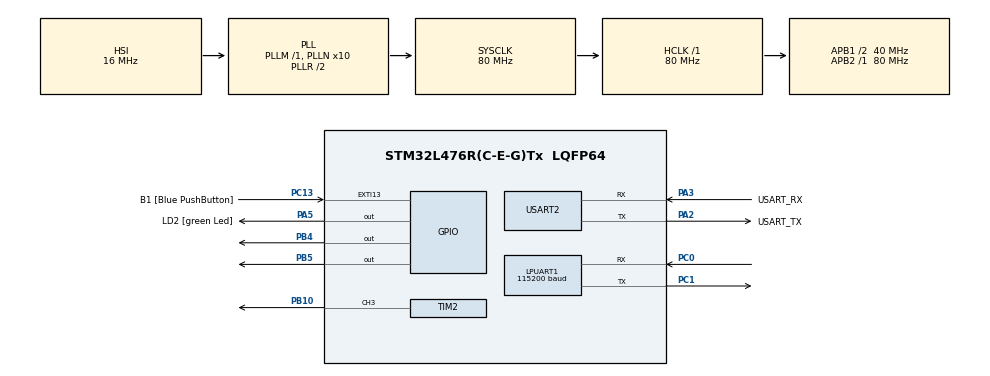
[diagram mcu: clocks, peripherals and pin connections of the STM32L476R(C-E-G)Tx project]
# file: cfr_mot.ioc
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LPUART1.BaudRate=115200
LPUART1.WordLength=UART_WORDLENGTH_8B
Mcu.Family=STM32L4
Mcu.Name=STM32L476R(C-E-G)Tx
Mcu.Package=LQFP64
NVIC.LPUART1_IRQn=true\:0\:0\:false\:false\:true\:true\:true\:true
NVIC.PriorityGroup=NVIC_PRIORITYGROUP_4
PA13\ (JTMS-SWDIO).GPIO_Label=TMS
PA13\ (JTMS-SWDIO).Mode=Serial_Wire
PA13\ (JTMS-SWDIO).Signal=SYS_JTMS-SWDIO
PA14\ (JTCK-SWCLK).GPIO_Label=TCK
PA14\ (JTCK-SWCLK).Mode=Serial_Wire
PA14\ (JTCK-SWCLK).Signal=SYS_JTCK-SWCLK
PA2.GPIO_Label=USART_TX
PA2.GPIO_Mode=GPIO_MODE_AF_PP
PA2.GPIO_PuPd=GPIO_NOPULL
PA2.GPIO_Speed=GPIO_SPEED_FREQ_VERY_HIGH
PA2.Mode=Asynchronous
PA2.Signal=USART2_TX
PA3.GPIO_Label=USART_RX
PA3.GPIO_Mode=GPIO_MODE_AF_PP
PA3.GPIO_PuPd=GPIO_NOPULL
PA3.GPIO_Speed=GPIO_SPEED_FREQ_VERY_HIGH
PA3.Mode=Asynchronous
PA3.Signal=USART2_RX
PA5.GPIO_Label=LD2 [green Led]
PA5.GPIO_ModeDefaultOutputPP=GPIO_MODE_OUTPUT_PP
PA5.GPIO_PuPd=GPIO_NOPULL
PA5.GPIO_Speed=GPIO_SPEED_FREQ_LOW
PA5.Signal=GPIO_Output
PB10.Signal=S_TIM2_CH3
PB3\ (JTDO-TRACESWO).GPIO_Label=SWO
PB3\ (JTDO-TRACESWO).Signal=SYS_JTDO-SWO
PB4\ (NJTRST).Signal=GPIO_Output
PB5.Signal=GPIO_Output
PC0.Mode=Asynchronous
PC0.Signal=LPUART1_RX
PC1.Mode=Asynchronous
PC1.Signal=LPUART1_TX
PC13.GPIO_Label=B1 [Blue PushButton]
PC13.GPIO_ModeDefaultEXTI=GPIO_MODE_IT_FALLING
PC13.GPIO_PuPd=GPIO_NOPULL
PC13.Signal=GPXTI13
PC14-OSC32_IN\ (PC14).Mode=LSE-External-Oscillator
PC14-OSC32_IN\ (PC14).Signal=RCC_OSC32_IN
PC15-OSC32_OUT\ (PC15).Mode=LSE-External-Oscillator
PC15-OSC32_OUT\ (PC15).Signal=RCC_OSC32_OUT
PH0-OSC_IN\ (PH0).Mode=HSE-External-Oscillator
PH0-OSC_IN\ (PH0).Signal=RCC_OSC_IN
PH1-OSC_OUT\ (PH1).Mode=HSE-External-Oscillator
PH1-OSC_OUT\ (PH1).Signal=RCC_OSC_OUT
ProjectManager.HeapSize=0x200
ProjectManager.StackSize=0x400
ProjectManager.TargetToolchain=STM32CubeIDE
RCC.ADCFreq_Value=64000000
RCC.AHBFreq_Value=80000000
RCC.APB1CLKDivider=RCC_HCLK_DIV2
RCC.APB1Freq_Value=40000000
RCC.APB1TimFreq_Value=80000000
RCC.APB2Freq_Value=80000000
RCC.APB2TimFreq_Value=80000000
RCC.CortexFreq_Value=80000000
RCC.HCLKFreq_Value=80000000
RCC.HSE_VALUE=8000000
RCC.HSI_VALUE=16000000
RCC.MSI_VALUE=4000000
RCC.PLLN=10
RCC.PLLSourceVirtual=RCC_PLLSOURCE_HSI
RCC.PREFETCH_ENABLE=1
RCC.SYSCLKFreq_VALUE=80000000
RCC.SYSCLKSource=RCC_SYSCLKSOURCE_PLLCLK
RCC.USBFreq_Value=64000000
RCC.VCOOutputFreq_Value=160000000
SH.S_TIM2_CH3.0=TIM2_CH3,PWM Generation3 CH3
TIM2.Channel-PWM\ Generation3\ CH3=TIM_CHANNEL_3
TIM2.Period=1999
TIM2.Prescaler=79
USART2.VirtualMode-Asynchronous=VM_ASYNC
VP_TIM2_VS_ClockSourceINT.Mode=Internal
board=NUCLEO-L476RG

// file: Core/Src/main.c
/* USER CODE BEGIN Header */
/**
  ******************************************************************************
  * @file           : main.c
  * @brief          : Main program body
  ******************************************************************************
  * @attention
  *
  * Copyright (c) 2024 STMicroelectronics.
  * All rights reserved.
  *
  * This software is licensed under terms that can be found in the LICENSE file
  * in the root directory of this software component.
  * If no LICENSE file comes with this software, it is provided AS-IS.
  *
  ******************************************************************************
  */
/* USER CODE END Header */
#include "main.h"

UART_HandleTypeDef hlpuart1;
UART_HandleTypeDef huart2;

TIM_HandleTypeDef htim2;

/* USER CODE BEGIN PV */
uint8_t tx_buffer[27] = "Hello Ares \n\r";
uint8_t rx_data[5];
int i = 0;

/* USER CODE END PV */

void SystemClock_Config(void);
static void MX_GPIO_Init(void);
static void MX_USART2_UART_Init(void);
static void MX_TIM2_Init(void);
static void MX_LPUART1_UART_Init(void);

int main(void)
{

  /* MCU Configuration--------------------------------------------------------*/

  /* Reset of all peripherals, Initializes the Flash interface and the Systick. */
  HAL_Init();

  /* Configure the system clock */
  SystemClock_Config();

  /* Initialize all configured peripherals */
  MX_GPIO_Init();
  MX_USART2_UART_Init();
  MX_TIM2_Init();
  MX_LPUART1_UART_Init();
  /* USER CODE BEGIN 2 */
  HAL_TIM_PWM_Start(&htim2, TIM_CHANNEL_3); //PB10 TIM2 CH3
  HAL_UART_Receive_IT(&hlpuart1,(uint8_t*)rx_data, 5);  // Start receiving data initially
  /* USER CODE END 2 */

  /* Infinite loop */
  /* USER CODE BEGIN WHILE */
  while (1)
  {
	  // Set the rotation direction backward
		  while (rx_data[0] == '1')
		  	  {
		  	      // Faire tourner les moteurs en avant
		  HAL_GPIO_WritePin(GPIOB, GPIO_PIN_4, 1); // Moteur avant
		  HAL_GPIO_WritePin(GPIOB, GPIO_PIN_5, 0);
		  __HAL_TIM_SET_COMPARE(&htim2, TIM_CHANNEL_3, 2000); // Vitesse haute
	      }

		  HAL_GPIO_WritePin(GPIOB, GPIO_PIN_4, 0); // Arrêter le moteur
		  HAL_GPIO_WritePin(GPIOB, GPIO_PIN_5, 0);
		  __HAL_TIM_SET_COMPARE(&htim2, TIM_CHANNEL_3, 0); // Arrêter la vitesse
    /* USER CODE END WHILE */

  }
}

void SystemClock_Config(void)
{
  RCC_OscInitTypeDef RCC_OscInitStruct = {0};
  RCC_ClkInitTypeDef RCC_ClkInitStruct = {0};

  /** Configure the main internal regulator output voltage
  */
  if (HAL_PWREx_ControlVoltageScaling(PWR_REGULATOR_VOLTAGE_SCALE1) != HAL_OK)
  {
    Error_Handler();
  }

  /** Initializes the RCC Oscillators according to the specified parameters
  * in the RCC_OscInitTypeDef structure.
  */
  RCC_OscInitStruct.OscillatorType = RCC_OSCILLATORTYPE_HSI;
  RCC_OscInitStruct.HSIState = RCC_HSI_ON;
  RCC_OscInitStruct.HSICalibrationValue = RCC_HSICALIBRATION_DEFAULT;
  RCC_OscInitStruct.PLL.PLLState = RCC_PLL_ON;
  RCC_OscInitStruct.PLL.PLLSource = RCC_PLLSOURCE_HSI;
  RCC_OscInitStruct.PLL.PLLM = 1;
  RCC_OscInitStruct.PLL.PLLN = 10;
  RCC_OscInitStruct.PLL.PLLP = RCC_PLLP_DIV7;
  RCC_OscInitStruct.PLL.PLLQ = RCC_PLLQ_DIV2;
  RCC_OscInitStruct.PLL.PLLR = RCC_PLLR_DIV2;
  if (HAL_RCC_OscConfig(&RCC_OscInitStruct) != HAL_OK)
  {
    Error_Handler();
  }

  /** Initializes the CPU, AHB and APB buses clocks
  */
  RCC_ClkInitStruct.ClockType = RCC_CLOCKTYPE_HCLK|RCC_CLOCKTYPE_SYSCLK
                              |RCC_CLOCKTYPE_PCLK1|RCC_CLOCKTYPE_PCLK2;
  RCC_ClkInitStruct.SYSCLKSource = RCC_SYSCLKSOURCE_PLLCLK;
  RCC_ClkInitStruct.AHBCLKDivider = RCC_SYSCLK_DIV1;
  RCC_ClkInitStruct.APB1CLKDivider = RCC_HCLK_DIV2;
  RCC_ClkInitStruct.APB2CLKDivider = RCC_HCLK_DIV1;

  if (HAL_RCC_ClockConfig(&RCC_ClkInitStruct, FLASH_LATENCY_4) != HAL_OK)
  {
    Error_Handler();
  }
}

static void MX_LPUART1_UART_Init(void)
{

  hlpuart1.Instance = LPUART1;
  hlpuart1.Init.BaudRate = 115200;
  hlpuart1.Init.WordLength = UART_WORDLENGTH_8B;
  hlpuart1.Init.StopBits = UART_STOPBITS_1;
  hlpuart1.Init.Parity = UART_PARITY_NONE;
  hlpuart1.Init.Mode = UART_MODE_TX_RX;
  hlpuart1.Init.HwFlowCtl = UART_HWCONTROL_NONE;
  hlpuart1.Init.OneBitSampling = UART_ONE_BIT_SAMPLE_DISABLE;
  hlpuart1.AdvancedInit.AdvFeatureInit = UART_ADVFEATURE_NO_INIT;
  if (HAL_UART_Init(&hlpuart1) != HAL_OK)
  {
    Error_Handler();
  }

}

static void MX_USART2_UART_Init(void)
{

  huart2.Instance = USART2;
  huart2.Init.BaudRate = 115200;
  huart2.Init.WordLength = UART_WORDLENGTH_8B;
  huart2.Init.StopBits = UART_STOPBITS_1;
  huart2.Init.Parity = UART_PARITY_NONE;
  huart2.Init.Mode = UART_MODE_TX_RX;
  huart2.Init.HwFlowCtl = UART_HWCONTROL_NONE;
  huart2.Init.OverSampling = UART_OVERSAMPLING_16;
  huart2.Init.OneBitSampling = UART_ONE_BIT_SAMPLE_DISABLE;
  huart2.AdvancedInit.AdvFeatureInit = UART_ADVFEATURE_NO_INIT;
  if (HAL_UART_Init(&huart2) != HAL_OK)
  {
    Error_Handler();
  }

}

static void MX_TIM2_Init(void)
{

  TIM_ClockConfigTypeDef sClockSourceConfig = {0};
  TIM_MasterConfigTypeDef sMasterConfig = {0};
  TIM_OC_InitTypeDef sConfigOC = {0};

  htim2.Instance = TIM2;
  htim2.Init.Prescaler = 79;
  htim2.Init.CounterMode = TIM_COUNTERMODE_UP;
  htim2.Init.Period = 1999;
  htim2.Init.ClockDivision = TIM_CLOCKDIVISION_DIV1;
  htim2.Init.AutoReloadPreload = TIM_AUTORELOAD_PRELOAD_DISABLE;
  if (HAL_TIM_Base_Init(&htim2) != HAL_OK)
  {
    Error_Handler();
  }
  sClockSourceConfig.ClockSource = TIM_CLOCKSOURCE_INTERNAL;
  if (HAL_TIM_ConfigClockSource(&htim2, &sClockSourceConfig) != HAL_OK)
  {
    Error_Handler();
  }
  if (HAL_TIM_PWM_Init(&htim2) != HAL_OK)
  {
    Error_Handler();
  }
  sMasterConfig.MasterOutputTrigger = TIM_TRGO_RESET;
  sMasterConfig.MasterSlaveMode = TIM_MASTERSLAVEMODE_DISABLE;
  if (HAL_TIMEx_MasterConfigSynchronization(&htim2, &sMasterConfig) != HAL_OK)
  {
    Error_Handler();
  }
  sConfigOC.OCMode = TIM_OCMODE_PWM1;
  sConfigOC.Pulse = 0;
  sConfigOC.OCPolarity = TIM_OCPOLARITY_HIGH;
  sConfigOC.OCFastMode = TIM_OCFAST_DISABLE;
  if (HAL_TIM_PWM_ConfigChannel(&htim2, &sConfigOC, TIM_CHANNEL_3) != HAL_OK)
  {
    Error_Handler();
  }
  HAL_TIM_MspPostInit(&htim2);

}

static void MX_GPIO_Init(void)
{
  GPIO_InitTypeDef GPIO_InitStruct = {0};

  /* GPIO Ports Clock Enable */
  __HAL_RCC_GPIOC_CLK_ENABLE();
  __HAL_RCC_GPIOH_CLK_ENABLE();
  __HAL_RCC_GPIOA_CLK_ENABLE();
  __HAL_RCC_GPIOB_CLK_ENABLE();

  /*Configure GPIO pin Output Level */
  HAL_GPIO_WritePin(LD2_GPIO_Port, LD2_Pin, GPIO_PIN_RESET);

  /*Configure GPIO pin Output Level */
  HAL_GPIO_WritePin(GPIOB, GPIO_PIN_4|GPIO_PIN_5, GPIO_PIN_RESET);

  /*Configure GPIO pin : B1_Pin */
  GPIO_InitStruct.Pin = B1_Pin;
  GPIO_InitStruct.Mode = GPIO_MODE_IT_FALLING;
  GPIO_InitStruct.Pull = GPIO_NOPULL;
  HAL_GPIO_Init(B1_GPIO_Port, &GPIO_InitStruct);

  /*Configure GPIO pin : LD2_Pin */
  GPIO_InitStruct.Pin = LD2_Pin;
  GPIO_InitStruct.Mode = GPIO_MODE_OUTPUT_PP;
  GPIO_InitStruct.Pull = GPIO_NOPULL;
  GPIO_InitStruct.Speed = GPIO_SPEED_FREQ_LOW;
  HAL_GPIO_Init(LD2_GPIO_Port, &GPIO_InitStruct);

  /*Configure GPIO pins : PB4 PB5 */
  GPIO_InitStruct.Pin = GPIO_PIN_4|GPIO_PIN_5;
  GPIO_InitStruct.Mode = GPIO_MODE_OUTPUT_PP;
  GPIO_InitStruct.Pull = GPIO_NOPULL;
  GPIO_InitStruct.Speed = GPIO_SPEED_FREQ_LOW;
  HAL_GPIO_Init(GPIOB, &GPIO_InitStruct);

}

/* USER CODE BEGIN 4 */
void HAL_UART_RxCpltCallback(UART_HandleTypeDef *huart)
{
    if (huart->Instance == LPUART1) // Vérifier si c'est le bon UART
    {
        HAL_UART_Transmit(&huart2, (uint8_t*)rx_data, strlen((char*)rx_data), HAL_MAX_DELAY);

        HAL_GPIO_WritePin(LD2_GPIO_Port, LD2_Pin, 1 - i); // Toggle LED

        HAL_UART_Receive_IT(&hlpuart1, (uint8_t*)rx_data, sizeof(rx_data)); // Démarrer la réception

    }
}
/* USER CODE END 4 */

void Error_Handler(void)
{
  __disable_irq();
  while (1)
  {
  }
}
